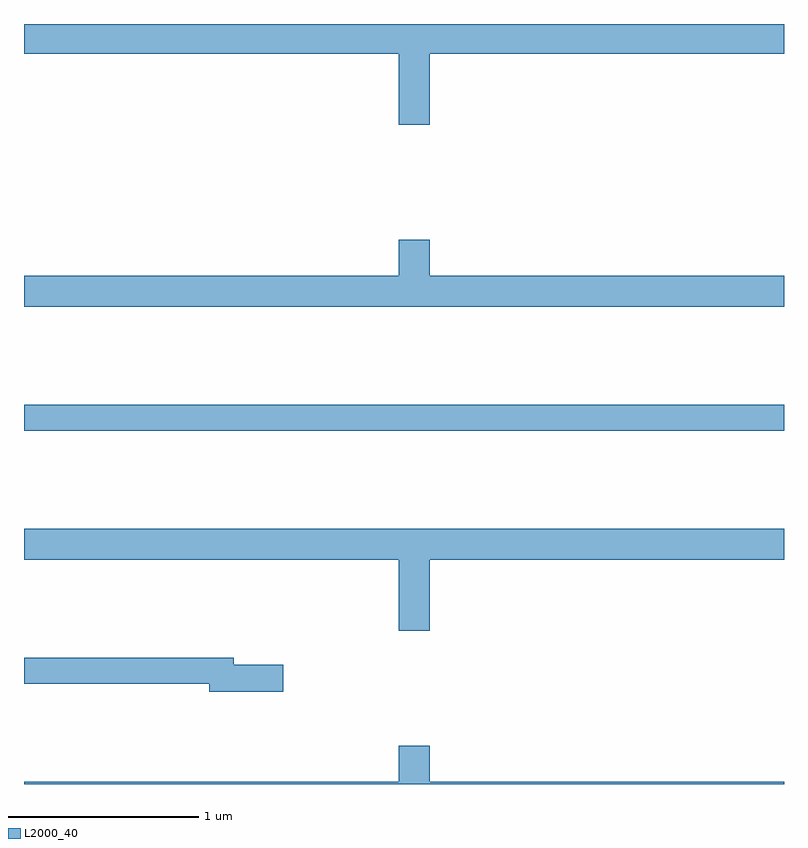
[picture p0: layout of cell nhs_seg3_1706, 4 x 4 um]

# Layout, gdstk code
import gdstk
lib = gdstk.Library(unit=1e-6, precision=1e-09)
def R(c, l, rs):  # rectangles x0, y0, x1, y1
    for r in rs: c.add(gdstk.rectangle(r[:2], r[2:], *l))
def P(c, l, *ps):  # polygons
    for p in ps: c.add(gdstk.Polygon(p, *l))
L2000_40 = (2000, 40)

nhs_seg3_1706 = lib.new_cell('nhs_seg3_1706')
R(nhs_seg3_1706, L2000_40, [(199,704.26,203,704.396)])
P(nhs_seg3_1706, L2000_40, [(201.136,706.244),(203,706.244),(203,706.4),(199,706.4),(199,706.244),(200.972,706.244),(200.972,705.87),(201.136,705.87)],
  [(203,705.076),(201.136,705.076),(201.136,705.265),(200.972,705.265),(200.972,705.076),(199,705.076),(199,704.912),(203,704.912)],
  [(201.136,703.58),(203,703.58),(203,703.744),(199,703.744),(199,703.58),(200.972,703.58),(200.972,703.206),(201.136,703.206)],
  [(200.365,703.028),(200.104,703.028),(200.104,703.064),(199,703.064),(199,702.928),(199.976,702.928),(199.976,702.886),(200.365,702.886)],
  [(203,702.412),(201.136,702.412),(201.136,702.601),(200.972,702.601),(200.972,702.412),(199,702.412),(199,702.4),(203,702.4)])

lib.write_gds('nhs_seg3_1706.gds')
